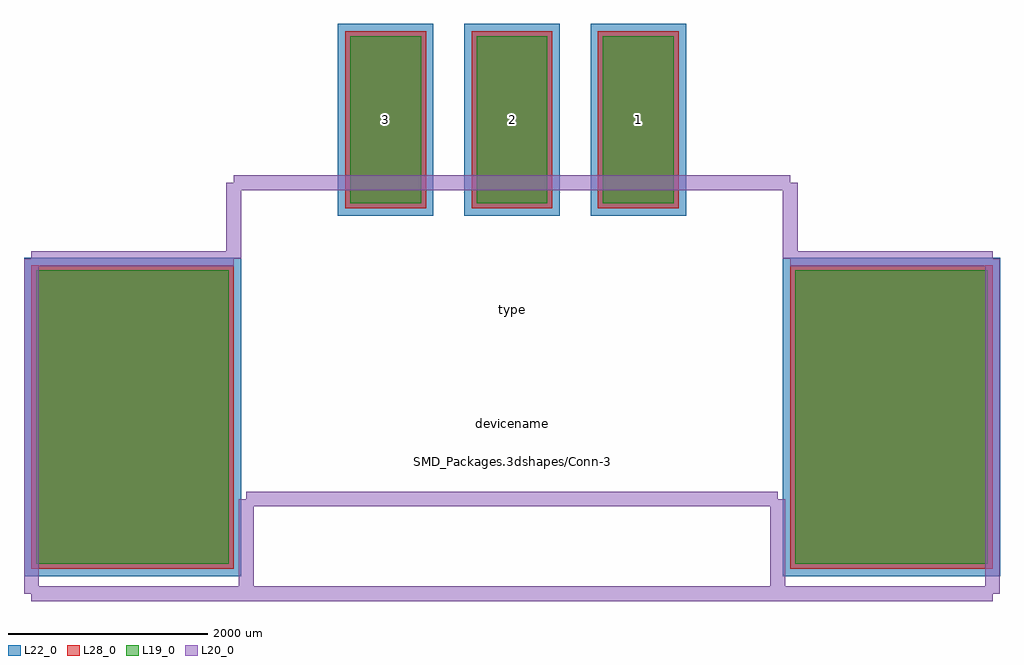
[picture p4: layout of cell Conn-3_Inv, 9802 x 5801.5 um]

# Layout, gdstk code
import gdstk
lib = gdstk.Library(unit=1e-6, precision=1e-09)
def R(c, l, rs):  # rectangles x0, y0, x1, y1
    for r in rs: c.add(gdstk.rectangle(r[:2], r[2:], *l))
def A(c, l, x, y, w, h, nx, ny, dx, dy):  # array of equal rectangles
    R(c, l, [(x+i*dx, y+j*dy, x+i*dx+w, y+j*dy+h) for i in range(nx) for j in range(ny)])
L19_0 = (19, 0)
L20_0 = (20, 0)
L22_0 = (22, 0)
L28_0 = (28, 0)

conn_3_inv = lib.new_cell('Conn-3_Inv')
A(conn_3_inv, L19_0, -1626.4, 2590, 712.8, 1678, 3, 1, 1270, 0)
R(conn_3_inv, L19_0, [(-4776,-1029.5,-2844,1918.5), (2844,-1029.5,4776,1918.5)])
A(conn_3_inv, L22_0, -1751.4, 2465, 962.8, 1928, 3, 1, 1270, 0)
R(conn_3_inv, L22_0, [(-4901,-1154.5,-2719,2043.5), (2719,-1154.5,4901,2043.5)])
A(conn_3_inv, L28_0, -1676.4, 2540, 812.8, 1778, 3, 1, 1270, 0)
R(conn_3_inv, L28_0, [(-4826,-1079.5,-2794,1968.5), (2794,-1079.5,4826,1968.5)])
conn_3_inv.add(gdstk.FlexPath([(-2794,2794),(0,2794)], 149.998, ends="flush", simple_path=True, layer=20, datatype=0))  # L20_0
conn_3_inv.add(gdstk.FlexPath([(-2794,2032),(-2794,2794)], 149.998, ends="flush", simple_path=True, layer=20, datatype=0))  # L20_0
conn_3_inv.add(gdstk.FlexPath([(-4826,2032),(-2794,2032)], 149.998, ends="flush", simple_path=True, layer=20, datatype=0))  # L20_0
conn_3_inv.add(gdstk.FlexPath([(-4826,-1333.5),(-4826,2032)], 149.998, ends="flush", simple_path=True, layer=20, datatype=0))  # L20_0
conn_3_inv.add(gdstk.FlexPath([(4826,-1333.5),(-4826,-1333.5)], 149.998, ends="flush", simple_path=True, layer=20, datatype=0))  # L20_0
conn_3_inv.add(gdstk.FlexPath([(4826,2032),(4826,-1333.5)], 149.998, ends="flush", simple_path=True, layer=20, datatype=0))  # L20_0
conn_3_inv.add(gdstk.FlexPath([(2794,2032),(4826,2032)], 149.998, ends="flush", simple_path=True, layer=20, datatype=0))  # L20_0
conn_3_inv.add(gdstk.FlexPath([(2794,2794),(2794,2032)], 149.998, ends="flush", simple_path=True, layer=20, datatype=0))  # L20_0
conn_3_inv.add(gdstk.FlexPath([(0,2794),(2794,2794)], 149.998, ends="flush", simple_path=True, layer=20, datatype=0))  # L20_0
conn_3_inv.add(gdstk.FlexPath([(-2667,-381),(-2667,-1333.5)], 149.998, ends="flush", simple_path=True, layer=20, datatype=0))  # L20_0
conn_3_inv.add(gdstk.FlexPath([(2667,-381),(-2667,-381)], 149.998, ends="flush", simple_path=True, layer=20, datatype=0))  # L20_0
conn_3_inv.add(gdstk.FlexPath([(2667,-1333.5),(2667,-381)], 149.998, ends="flush", simple_path=True, layer=20, datatype=0))  # L20_0
conn_3_inv.add(gdstk.Label('SMD_Packages.3dshapes/Conn-3_Inv.wrl', (0,0), layer=12, texttype=0))
conn_3_inv.add(gdstk.Label('3', (-1270,3429), layer=28, texttype=0))
conn_3_inv.add(gdstk.Label('2', (0,3429), layer=28, texttype=0))
conn_3_inv.add(gdstk.Label('1', (1270,3429), layer=28, texttype=0))
conn_3_inv.add(gdstk.Label('type', (0,1524), layer=9, texttype=0))
conn_3_inv.add(gdstk.Label('devicename', (0,381), layer=9, texttype=0))

lib.write_gds('Conn-3_Inv.gds')
